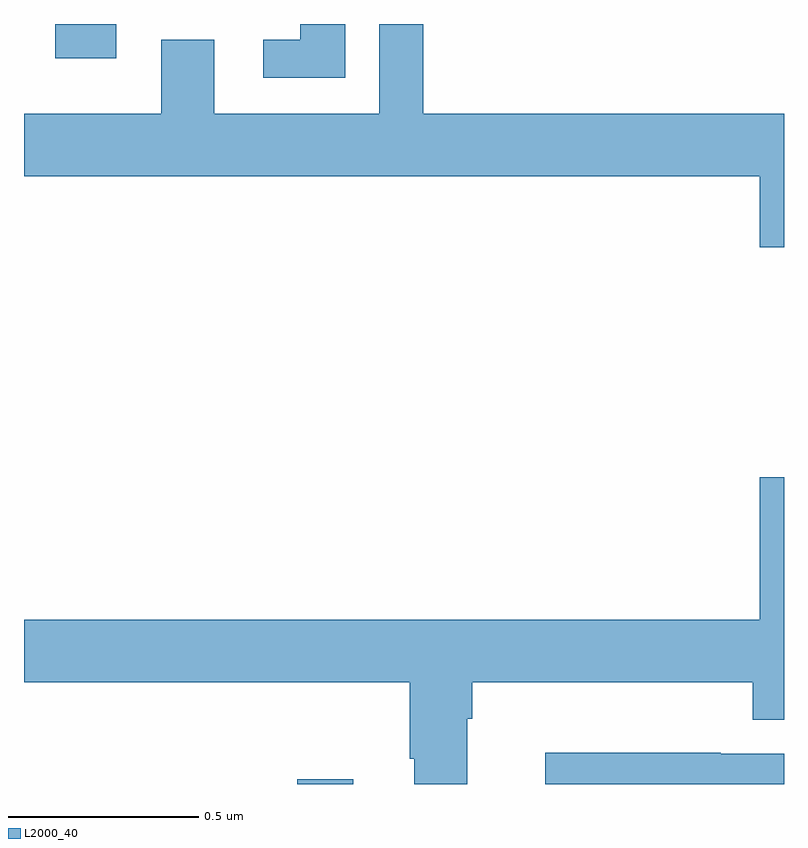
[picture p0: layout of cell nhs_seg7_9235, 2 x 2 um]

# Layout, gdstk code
import gdstk
lib = gdstk.Library(unit=1e-6, precision=1e-09)
def R(c, l, rs):  # rectangles x0, y0, x1, y1
    for r in rs: c.add(gdstk.rectangle(r[:2], r[2:], *l))
def P(c, l, *ps):  # polygons
    for p in ps: c.add(gdstk.Polygon(p, *l))
L2000_40 = (2000, 40)

nhs_seg7_9235 = lib.new_cell('nhs_seg7_9235')
R(nhs_seg7_9235, L2000_40, [(235.719,1015,235.867,1015.012), (235.082,1016.91,235.243,1017)])
P(nhs_seg7_9235, L2000_40, [(237,1016.764),(236.051,1016.764),(236.051,1017),(235.935,1017),(235.935,1016.764),(235.501,1016.764),(235.501,1016.959),(235.361,1016.959),(235.361,1016.764),(235,1016.764),(235,1016.6),(236.936,1016.6),(236.936,1016.412),(237,1016.412)],
  [(235.846,1017),(235.727,1017),(235.727,1016.959),(235.629,1016.959),(235.629,1016.858),(235.846,1016.858)],
  [(236.167,1015.172),(236.18,1015.172),(236.18,1015.268),(236.918,1015.268),(236.918,1015.169),(237,1015.169),(237,1015.807),(236.936,1015.807),(236.936,1015.432),(235,1015.432),(235,1015.268),(236.015,1015.268),(236.015,1015.066),(236.027,1015.066),(236.027,1015),(236.167,1015)],
  [(237,1015.08),(236.834,1015.08),(236.834,1015.082),(236.372,1015.082),(236.372,1015),(237,1015)])

lib.write_gds('nhs_seg7_9235.gds')
